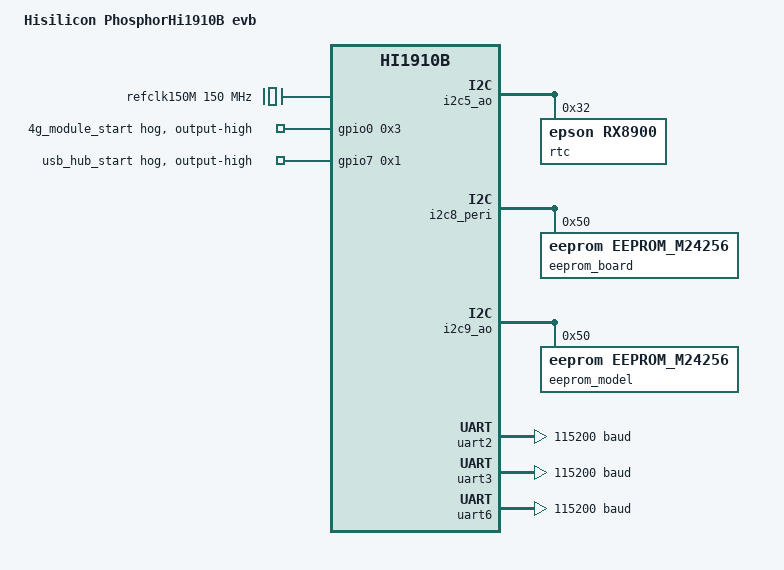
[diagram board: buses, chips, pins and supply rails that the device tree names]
/dts-v1/;

/ {
	compatible = "hisilicon,hi1910B-evb", "hisilicon,ascend610";
	hisi,boardid = <0x0 0x5 0x0 0x1 0x5 0x0>;
	#address-cells = <0x2>;
	#size-cells = <0x2>;
	interrupt-parent = <0x1>;
	model = "Hisilicon PhosphorHi1910B evb";

	/include/ "base/hi1910B-asic-kernel-rc.dtsi"
	/include/ "base/hi1910B-commmon-smmu.dtsi"
	/include/ "base/hi1910B-mpam.dtsi"
	/include/ "base/hi1910B-lp-pm.dtsi"
	/include/ "base/hi1910B-lp-devmng.dtsi"
	/include/ "base/hi1910B-mbigen-ao.dtsi"
	/include/ "base/hi1910B-gpio.dtsi"
	/include/ "base/hi1910B-ipcdrv.dtsi"
	/include/ "base/hi1910B-ts-drv.dtsi"
	/include/ "base/hi1910B-tsdrv.dtsi"
	/include/ "base/hi1910B-network-M150-B50.dtsi"
	/include/ "base/hi1910B-hidvpp.dtsi"
	/include/ "base/hi1910B-hdmi.dtsi"
	/include/ "product/hi1910B-audio.dtsi"
	/include/ "base/hi1910B-mipitx.dtsi"
	/include/ "base/hi1910B-vdp.dtsi"
	/include/ "base/hi1910B-isp.dtsi"
	/include/ "base/hi1910B-hilink.dtsi"
	/include/ "base/hi1910B-mntn-milanr3.dtsi"
	/include/ "base/hi1910B-gpu.dtsi"
	/include/ "base/hi1910B-ctl.dtsi"
	/include/ "base/hi1910B-itrustee.dtsi"
	/include/ "base/hi1910B-sata.dtsi"
	/include/ "product/hi1910B-pcie-rc-M150-B50.dtsi"
	/include/ "product/hi1910B-mdio-M150-B50.dtsi"
	/include/ "product/hi1910B-pinctrl-M150-B50.dtsi"
	/include/ "product/hi1910B-can-M150-B50.dtsi"
	/include/ "product/hi1910B-hiusbc-B50.dtsi"
	/include/ "product/hi1910B-emmc-M150-B50.dtsi"
        /include/ "product/hi1910B-i2c-M150-B50.dtsi"
        /include/ "product/hi1910B-spi-M150-B50.dtsi"
	/include/ "base/hi1910B-abl-qos.dtsi"

	chosen {
		bootargs = "console=ttyAMA0,115200 log_redirect=0x1fc000@0x22741000 root=/dev/mmcblk0p2 rw rdinit=/sbin/init rodata=off syslog earlycon=pl011,mmio32,0xC4010000 loglevel=5 initrd=0x2BA00000,300M rootwait mpam=of enable_ascend_share_pool ascend_enable_all enable_sp_multi_group_mode init_all_gicr enable_fpga no_console_suspend selinux=0 systemd.unified_cgroup_hierarchy=0 audit=1 audit_backlog_limit=8192 fbcon=map:6 movable_node";
	};
};

&eth0 {
	pinctrl-names = "default", "idle";
	pinctrl-0 = <&mdc0_cfg_func &mdio0_cfg_func>;
	pinctrl-1 = <&mdc0_cfg_func &mdio0_cfg_func>;
};

&eth1 {
	pinctrl-names = "default", "idle";
	pinctrl-0 = <&mdc1_cfg_func &mdio1_cfg_func>;
	pinctrl-1 = <&mdc1_cfg_func &mdio1_cfg_func>;
};

&i2c5_ao {
	rtc@32 {
		compatible = "epson,rx8900";
		reg = <0x32>;
	};
};

&hdmi {
	TMDS_DRV_CFG_CH_2_0 = <0x40042805 0x00042805 0x00042805 0x40042905 0x00042905 0x00042905>;
	TMDS_DRV_CFG_CH_1_4 = <0x40021B02 0x00021B02 0x00021B02 0x40021B02 0x00021B02 0x00021B02>;
};

&i2c7_peri {
	pinctrl-names = "default", "idle";
	pinctrl-0 = <&scl7_cfg_func &sda7_cfg_func>;
	pinctrl-1 = <&scl7_cfg_func &sda7_cfg_func>;
};

&i2c8_peri {
	pinctrl-names = "default", "idle";
	pinctrl-0 = <&scl8_cfg_func &sda8_cfg_func>;
	pinctrl-1 = <&scl8_cfg_func &sda8_cfg_func>;

	eeprom_board:eeprom@50 {
		compatible = "eeprom,eeprom_m24256";
		reg = <0x50>;
	};
};

&i2c9_ao {
        eeprom_model:eeprom@50 {
                compatible = "eeprom,eeprom_m24256";
                reg = <0x50>;
        };
};

&{/soc} {
        refclk150M: refclk150M {
            compatible = "fixed-clock";
            #clock-cells = <0>;
            clock-frequency = <150000000>;
            clock-output-names = "refclk";
        };

        uart2: uart@82230000 {
                compatible = "arm,pl011", "arm,primecell";
                reg = < 0x00 0x82230000 0x00 0x1000 >;
                interrupts = < 0x00 0xab 0x04 >;
                current-speed = < 0x1c200 >;
                arm,primecell-periphid = <0x00241011>;
                clocks = <&refclk150M>;
                clock-names = "apb_pclk";
                pinctrl-names = "default", "idle";
                pinctrl-0 = <&uart2_tx_pmx_func &uart2_rx_pmx_func &sfc_cs0n_cfg_func>;
                pinctrl-1 = <&uart2_tx_pmx_idle &uart2_rx_pmx_idle &sfc_cs0n_cfg_func>;
        };
        uart3: uart@82240000 {
                compatible = "arm,pl011", "arm,primecell";
                reg = < 0x00 0x82240000 0x00 0x1000 >;
                interrupts = < 0x00 0xac 0x04 >;
                current-speed = < 0x1c200 >;
                arm,primecell-periphid = <0x00241011>;
                clocks = <&refclk150M>;
                clock-names = "apb_pclk";
                pinctrl-names = "default", "idle";
                pinctrl-0 = <&uart3_tx_pmx_func &uart3_rx_pmx_func>;
                pinctrl-1 = <&uart3_tx_pmx_idle &uart3_rx_pmx_idle>;
        };

        uart6: uart@82250000 {
                compatible = "arm,pl011", "arm,primecell";
                reg = < 0x00 0x82250000 0x00 0x1000 >;
                interrupts = < 0x00 0xad 0x04 >;
                current-speed = < 0x1c200 >;
                arm,primecell-periphid = <0x00241011>;
                clocks = <&refclk150M>;
                clock-names = "apb_pclk";
                pinctrl-names = "default", "idle";
                pinctrl-0 = <&uart6_tx_pmx_func &uart6_rx_pmx_func &gps_int_pmx_func>;
                pinctrl-1 = <&uart6_tx_pmx_idle &uart6_rx_pmx_idle &gps_int_pmx_idle>;
        };
};

&sata {
	pinctrl-names = "default", "idle";
	pinctrl-0 = <&sata1_led_pmx_func &sata2_led_pmx_func>;
	pinctrl-1 = <&sata1_led_pmx_idle &sata2_led_pmx_idle>;
};

&gpio0 {
        4g_module_start {
		gpio-hog;
		gpios = <0x3 0x0>;
            	output-high;
            	line-name = "4g_module_start";
	};
};

&gpio7 {
        usb_hub_start {
                gpio-hog;
                gpios = <0x1 0x0>;
                output-high;
                line-name = "usb_hub_start";
        };

};
